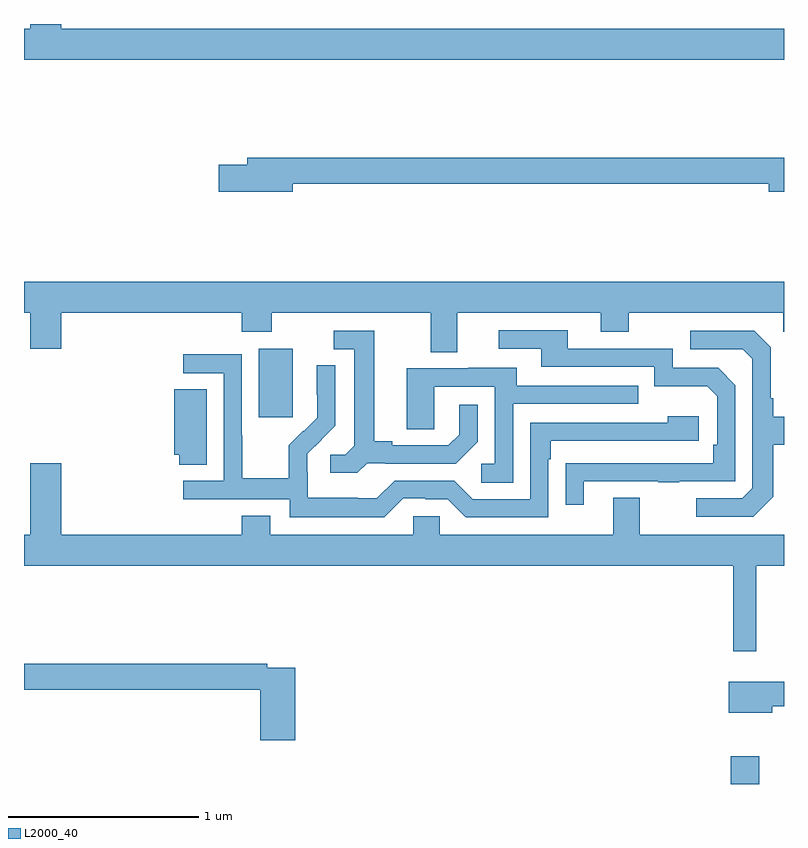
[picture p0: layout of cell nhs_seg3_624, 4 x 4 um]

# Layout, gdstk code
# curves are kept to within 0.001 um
import gdstk
lib = gdstk.Library(unit=1e-6, precision=1e-09)
def R(c, l, rs):  # rectangles x0, y0, x1, y1
    for r in rs: c.add(gdstk.rectangle(r[:2], r[2:], *l))
def P(c, l, *ps):  # polygons
    for p in ps: c.add(gdstk.Polygon(p, *l))
L2000_40 = (2000, 40)

nhs_seg3_624 = lib.new_cell('nhs_seg3_624')
R(nhs_seg3_624, L2000_40, [(144.719,734.4,144.871,734.545), (142.235,736.329,142.414,736.69)])
P(nhs_seg3_624, L2000_40, [(145,738.376),(141.196,738.376),(141.196,738.4),(141.032,738.4),(141.032,738.376),(141,738.376),(141,738.212),(145,738.212)],
  [(142.414,737.56),(144.92,737.56),(144.92,737.518),(145,737.518),(145,737.696),(142.175,737.696),(142.175,737.66),(142.026,737.66),(142.026,737.518),(142.414,737.518)],
  [(143.281,736.88),(144.035,736.88),(144.035,736.781),(144.183,736.781),(144.183,736.88),(144.996,736.88),(144.996,736.781),(145,736.781),(145,737.044),(141,737.044),(141,736.88),(141.032,736.88),(141.032,736.692),(141.196,736.692),(141.196,736.88),(142.145,736.88),(142.145,736.781),(142.305,736.781),(142.305,736.88),(143.141,736.88),(143.141,736.672),(143.281,736.672)],
  [(143.947,735.993),(144.337,735.993),(144.337,735.988),(144.449,735.988),(144.449,735.993),(144.744,735.993),(144.744,736.5),(144.654,736.59),(144.414,736.59),(144.414,736.692),(143.863,736.692),(143.863,736.788),(143.499,736.788),(143.499,736.692),(143.723,736.692),(143.723,736.596),(144.318,736.596),(144.318,736.493),(144.595,736.493),(144.648,736.44),(144.648,736.186),(144.628,736.186),(144.628,736.089),(143.851,736.088),(143.851,735.87),(143.947,735.87)],
  [(144.943,735.913),(144.943,736.186),(145,736.186),(145,736.333),(144.943,736.333),(144.943,736.429),(144.93,736.429),(144.93,736.698),(144.843,736.785),(144.507,736.785),(144.507,736.689),(144.783,736.689),(144.834,736.638),(144.834,735.957),(144.78,735.903),(144.537,735.903),(144.537,735.807),(144.837,735.807)],
  [(142.806,736.089),(142.9,736.089),(142.9,736.086),(143.272,736.086),(143.388,736.202),(143.388,736.396),(143.291,736.396),(143.291,736.239),(143.234,736.182),(142.939,736.182),(142.939,736.205),(142.843,736.205),(142.843,736.785),(142.629,736.785),(142.629,736.689),(142.739,736.689),(142.739,736.181),(142.692,736.134),(142.611,736.134),(142.611,736.037),(142.754,736.037)],
  [(142.995,735.903),(143.111,735.903),(143.111,735.9),(143.229,735.9),(143.325,735.804),(143.76,735.804),(143.76,736.109),(143.773,736.109),(143.773,736.206),(144.55,736.206),(144.55,736.336),(144.389,736.336),(144.389,736.302),(143.664,736.302),(143.664,735.9),(143.361,735.9),(143.265,735.996),(142.95,735.996),(142.857,735.903),(142.757,735.903),(142.757,735.907),(142.494,735.907),(142.494,736.041),(142.492,736.041),(142.492,736.138),(142.638,736.286),(142.638,736.604),(142.542,736.604),(142.542,736.45),(142.544,736.45),(142.544,736.328),(142.473,736.257),(142.47,736.26),(142.393,736.183),(142.393,736.009),(142.149,736.009),(142.149,736.232),(142.146,736.232),(142.146,736.662),(141.837,736.662),(141.837,736.563),(142.05,736.563),(142.05,735.996),(141.837,735.996),(141.837,735.9),(142.398,735.9),(142.398,735.803),(142.895,735.803)],
  [(143.574,736.401),(144.233,736.401),(144.233,736.497),(143.593,736.497),(143.593,736.591),(143.339,736.591),(143.339,736.587),(143.015,736.587),(143.015,736.267),(143.16,736.267),(143.16,736.491),(143.478,736.491),(143.478,736.086),(143.406,736.086),(143.406,735.985),(143.574,735.985)],
  [(141.961,736.478),(141.791,736.478),(141.791,736.134),(141.818,736.134),(141.818,736.081),(141.961,736.081)],
  [(144.853,735.548),(145,735.548),(145,735.712),(144.241,735.712),(144.241,735.907),(144.101,735.907),(144.101,735.712),(143.187,735.712),(143.187,735.81),(143.049,735.81),(143.049,735.712),(142.297,735.712),(142.297,735.811),(142.145,735.811),(142.145,735.712),(141.196,735.712),(141.196,736.087),(141.032,736.087),(141.032,735.712),(141,735.712),(141,735.548),(144.732,735.548),(144.732,735.099),(144.853,735.099)],
  [(142.427,735.012),(142.28,735.012),(142.28,735.032),(141,735.032),(141,734.896),(142.244,734.896),(142.244,734.631),(142.427,734.631)],
  [(144.937,734.81),(145,734.81),(145,734.938),(144.708,734.938),(144.708,734.774),(144.937,734.774)])

lib.write_gds('nhs_seg3_624.gds')
